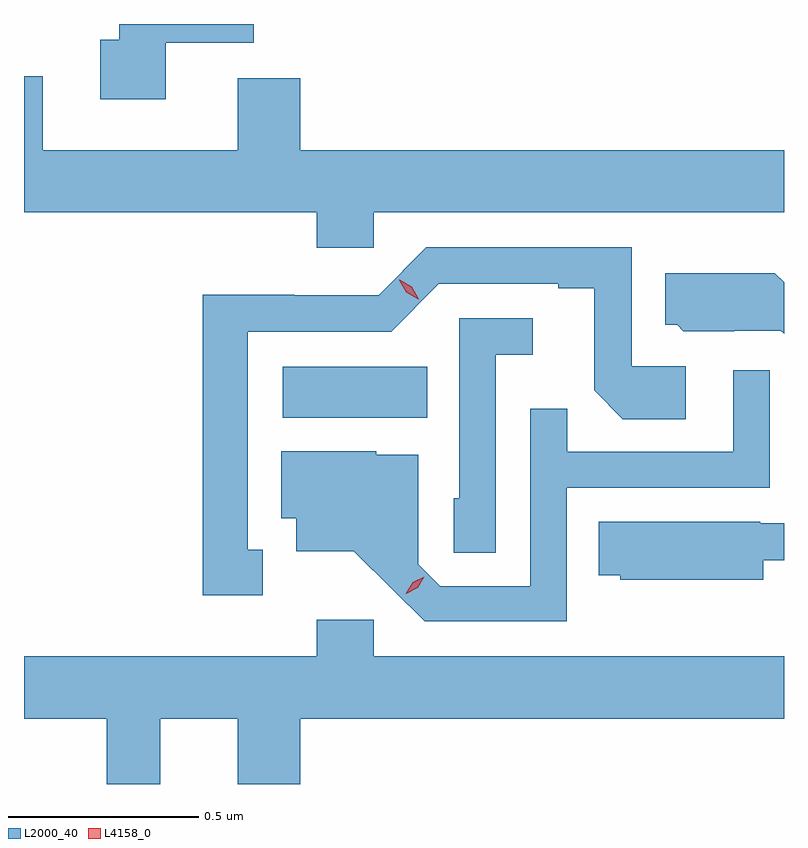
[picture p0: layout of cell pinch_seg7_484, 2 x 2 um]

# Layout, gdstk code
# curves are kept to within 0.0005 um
import gdstk
lib = gdstk.Library(unit=1e-6, precision=1e-09)
def R(c, l, rs):  # rectangles x0, y0, x1, y1
    for r in rs: c.add(gdstk.rectangle(r[:2], r[2:], *l))
def P(c, l, *ps):  # polygons
    for p in ps: c.add(gdstk.Polygon(p, *l))
L2000_40 = (2000, 40)
L4158_0 = (4158, 0)

pinch_seg7_484 = lib.new_cell('pinch_seg7_484')
R(pinch_seg7_484, L2000_40, [(177.114,1069.34,177.494,1069.474)])
P(pinch_seg7_484, L2000_40, [(176.806,1070.327),(177.037,1070.327),(177.037,1070.376),(176.684,1070.376),(176.684,1070.334),(176.634,1070.334),(176.634,1070.178),(176.806,1070.178)],
  [(177.354,1069.88),(178.433,1069.88),(178.433,1070.044),(177.16,1070.044),(177.16,1070.233),(176.996,1070.233),(176.996,1070.044),(176.482,1070.044),(176.482,1070.239),(176.433,1070.239),(176.433,1069.88),(177.203,1069.88),(177.203,1069.787),(177.354,1069.787)],
  [(177.061,1068.993),(177.022,1068.993),(177.022,1069.566),(177.399,1069.566),(177.525,1069.692),(177.839,1069.692),(177.839,1069.68),(177.933,1069.68),(177.933,1069.412),(178.009,1069.336),(178.174,1069.336),(178.174,1069.476),(178.032,1069.476),(178.032,1069.788),(177.492,1069.788),(177.366,1069.662),(177.144,1069.662),(177.144,1069.664),(176.904,1069.664),(176.904,1068.873),(177.061,1068.873)],
  [(178.433,1069.696),(178.409,1069.72),(178.121,1069.72),(178.121,1069.584),(178.152,1069.584),(178.168,1069.568),(178.302,1069.568),(178.302,1069.569),(178.425,1069.569),(178.433,1069.561)],
  [(177.675,1069.505),(177.772,1069.505),(177.772,1069.602),(177.579,1069.602),(177.579,1069.128),(177.564,1069.128),(177.564,1068.985),(177.675,1068.985)],
  [(177.861,1069.155),(178.395,1069.155),(178.395,1069.465),(178.299,1069.465),(178.299,1069.251),(177.863,1069.251),(177.863,1069.364),(177.765,1069.364),(177.765,1068.897),(177.528,1068.897),(177.471,1068.954),(177.471,1069.243),(177.36,1069.243),(177.36,1069.252),(177.11,1069.252),(177.11,1069.076),(177.149,1069.076),(177.149,1068.989),(177.301,1068.989),(177.488,1068.804),(177.861,1068.804)],
  [(178.378,1068.965),(178.433,1068.965),(178.433,1069.062),(178.37,1069.062),(178.37,1069.066),(177.946,1069.066),(177.946,1068.926),(178.002,1068.926),(178.002,1068.914),(178.378,1068.914)],
  [(176.791,1068.548),(176.996,1068.548),(176.996,1068.376),(177.16,1068.376),(177.16,1068.548),(178.433,1068.548),(178.433,1068.712),(177.354,1068.712),(177.354,1068.808),(177.203,1068.808),(177.203,1068.712),(176.433,1068.712),(176.433,1068.548),(176.651,1068.548),(176.651,1068.376),(176.791,1068.376)])
P(pinch_seg7_484, L4158_0, [(177.438,1068.877),(177.438,1068.877),(177.456,1068.907),(177.486,1068.922),(177.486,1068.922),(177.486,1068.922),(177.469,1068.892),(177.439,1068.877)],
  [(177.471,1069.652),(177.439,1069.67),(177.421,1069.702),(177.421,1069.703),(177.422,1069.703),(177.454,1069.684),(177.472,1069.652),(177.472,1069.652)])

lib.write_gds('pinch_seg7_484.gds')
